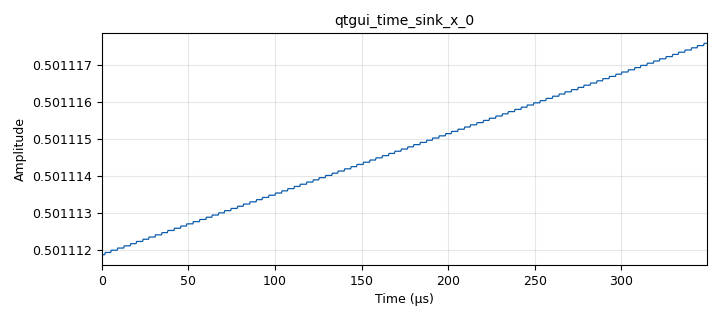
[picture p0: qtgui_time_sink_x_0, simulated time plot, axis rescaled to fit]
<?xml version='1.0' encoding='utf-8'?>
<?grc format='1' created='3.7.12'?>
<flow_graph>
<block>
<key>options</key>
<param><key>id</key><value>top_block</value></param>
<param><key>generate_options</key><value>qt_gui</value></param>
</block>
<block>
<key>variable</key>
<param><key>id</key><value>drift_rate</value></param>
<param><key>value</key><value>1</value></param>
</block>
<block>
<key>variable</key>
<param><key>id</key><value>drift_time</value></param>
<param><key>value</key><value>60</value></param>
</block>
<block>
<key>variable</key>
<param><key>id</key><value>offset_freq</value></param>
<param><key>value</key><value>624865</value></param>
</block>
<block>
<key>variable</key>
<param><key>id</key><value>samp_rate</value></param>
<param><key>value</key><value>2929687.5</value></param>
</block>
<block>
<key>analog_fastnoise_source_x</key>
<param><key>id</key><value>analog_fastnoise_source_x_0</value></param>
<param><key>amp</key><value>0.1</value></param>
<param><key>noise_type</key><value>analog.GR_GAUSSIAN</value></param>
<param><key>type</key><value>complex</value></param>
<param><key>seed</key><value>0</value></param>
<param><key>samples</key><value>8192</value></param>
</block>
<block>
<key>analog_frequency_modulator_fc</key>
<param><key>id</key><value>analog_frequency_modulator_fc_0</value></param>
<param><key>sensitivity</key><value>2*3.14*drift_rate*drift_time/samp_rate</value></param>
</block>
<block>
<key>analog_sig_source_x</key>
<param><key>id</key><value>analog_sig_source_x_0</value></param>
<param><key>amp</key><value>0.4</value></param>
<param><key>freq</key><value>offset_freq</value></param>
<param><key>offset</key><value>0</value></param>
<param><key>type</key><value>complex</value></param>
<param><key>samp_rate</key><value>samp_rate</value></param>
<param><key>waveform</key><value>analog.GR_COS_WAVE</value></param>
</block>
<block>
<key>analog_sig_source_x</key>
<param><key>id</key><value>analog_sig_source_x_1</value></param>
<param><key>amp</key><value>1</value></param>
<param><key>freq</key><value>1.0/drift_time</value></param>
<param><key>offset</key><value>0</value></param>
<param><key>type</key><value>float</value></param>
<param><key>samp_rate</key><value>samp_rate</value></param>
<param><key>waveform</key><value>analog.GR_SAW_WAVE</value></param>
</block>
<block>
<key>blocks_add_xx</key>
<param><key>id</key><value>blocks_add_xx_0</value></param>
<param><key>type</key><value>complex</value></param>
</block>
<block>
<key>blocks_complex_to_interleaved_char</key>
<param><key>id</key><value>blocks_complex_to_interleaved_char_0</value></param>
<param><key>vector_output</key><value>False</value></param>
</block>
<block>
<key>blocks_file_sink</key>
<param><key>id</key><value>blocks_file_sink_0</value></param>
<param><key>file</key><value>drift_test_vector.dat</value></param>
<param><key>type</key><value>byte</value></param>
</block>
<block>
<key>blocks_head</key>
<param><key>id</key><value>blocks_head_0</value></param>
<param><key>num_items</key><value>int(drift_time*samp_rate/2)</value></param>
<param><key>type</key><value>complex</value></param>
</block>
<block>
<key>blocks_multiply_xx</key>
<param><key>id</key><value>blocks_multiply_xx_0</value></param>
<param><key>type</key><value>complex</value></param>
</block>
<block>
<key>blocks_throttle</key>
<param><key>id</key><value>blocks_throttle_0</value></param>
<param><key>_enabled</key><value>0</value></param>
<param><key>samples_per_second</key><value>samp_rate</value></param>
<param><key>type</key><value>complex</value></param>
</block>
<block>
<key>qtgui_freq_sink_x</key>
<param><key>id</key><value>qtgui_freq_sink_x_0</value></param>
<param><key>bw</key><value>samp_rate</value></param>
<param><key>fc</key><value>0</value></param>
<param><key>_enabled</key><value>0</value></param>
<param><key>fftsize</key><value>4096</value></param>
<param><key>showports</key><value>True</value></param>
<param><key>type</key><value>complex</value></param>
<param><key>wintype</key><value>firdes.WIN_BLACKMAN_hARRIS</value></param>
</block>
<block>
<key>qtgui_time_sink_x</key>
<param><key>id</key><value>qtgui_time_sink_x_0</value></param>
<param><key>color1</key><value>"blue"</value></param>
<param><key>label1</key><value></value></param>
<param><key>size</key><value>1024</value></param>
<param><key>srate</key><value>samp_rate</value></param>
<param><key>type</key><value>float</value></param>
</block>
<connection><source_block_id>analog_fastnoise_source_x_0</source_block_id><sink_block_id>blocks_add_xx_0</sink_block_id><source_key>0</source_key><sink_key>1</sink_key></connection>
<connection><source_block_id>analog_frequency_modulator_fc_0</source_block_id><sink_block_id>blocks_multiply_xx_0</sink_block_id><source_key>0</source_key><sink_key>0</sink_key></connection>
<connection><source_block_id>analog_sig_source_x_0</source_block_id><sink_block_id>blocks_multiply_xx_0</sink_block_id><source_key>0</source_key><sink_key>1</sink_key></connection>
<connection><source_block_id>analog_sig_source_x_1</source_block_id><sink_block_id>analog_frequency_modulator_fc_0</sink_block_id><source_key>0</source_key><sink_key>0</sink_key></connection>
<connection><source_block_id>analog_sig_source_x_1</source_block_id><sink_block_id>qtgui_time_sink_x_0</sink_block_id><source_key>0</source_key><sink_key>0</sink_key></connection>
<connection><source_block_id>blocks_add_xx_0</source_block_id><sink_block_id>blocks_head_0</sink_block_id><source_key>0</source_key><sink_key>0</sink_key></connection>
<connection><source_block_id>blocks_add_xx_0</source_block_id><sink_block_id>blocks_throttle_0</sink_block_id><source_key>0</source_key><sink_key>0</sink_key></connection>
<connection><source_block_id>blocks_complex_to_interleaved_char_0</source_block_id><sink_block_id>blocks_file_sink_0</sink_block_id><source_key>0</source_key><sink_key>0</sink_key></connection>
<connection><source_block_id>blocks_head_0</source_block_id><sink_block_id>blocks_complex_to_interleaved_char_0</sink_block_id><source_key>0</source_key><sink_key>0</sink_key></connection>
<connection><source_block_id>blocks_multiply_xx_0</source_block_id><sink_block_id>blocks_add_xx_0</sink_block_id><source_key>0</source_key><sink_key>0</sink_key></connection>
<connection><source_block_id>blocks_throttle_0</source_block_id><sink_block_id>qtgui_freq_sink_x_0</sink_block_id><source_key>0</source_key><sink_key>0</sink_key></connection>
</flow_graph>
